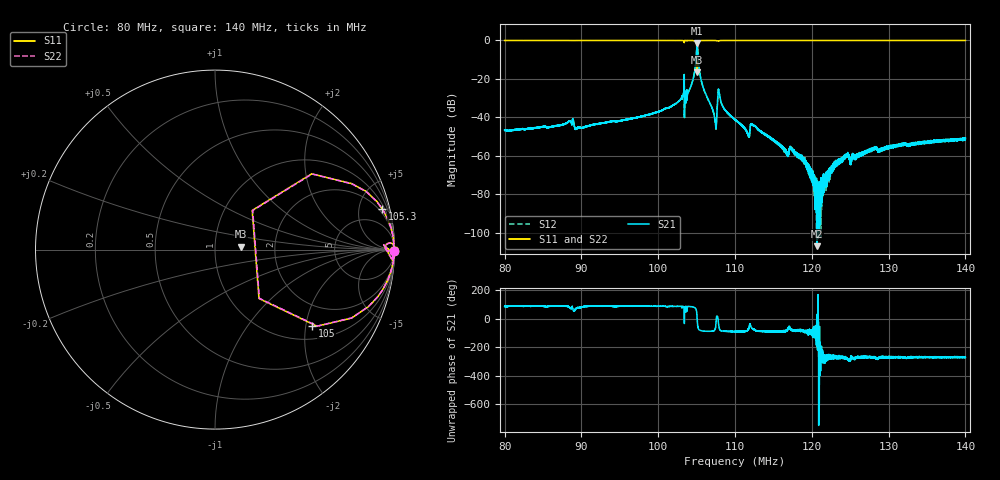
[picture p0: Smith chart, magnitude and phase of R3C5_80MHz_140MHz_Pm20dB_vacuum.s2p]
!Agilent Technologies,N5230A,MY45000988,A.06.04.32
!Agilent N5230A: A.06.04.32
!Date: Saturday, August 17, 2019 19:29:45
!Correction: S11(Full 2 Port(1,2)) S21(Full 2 Port(1,2)) S12(Full 2 Port(1,2)) S22(Full 2 Port(1,2))
!S2P File: Measurements: S11, S21, S12, S22:
# Hz S  RI  R 50
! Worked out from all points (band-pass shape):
!   16001 points, 80 MHz to 140 MHz, reference 50 ohm
!   highest |S21| = -1.41 dB at 105.1 MHz (marker M1); lowest = -107.0 dB at 120.7 MHz (marker M2)
!   |S21| within 3 dB of the highest: 105.0124 MHz to 105.1292 MHz (116.8 kHz wide, 0.111 % of centre)
!   lowest |S11| = -16.7 dB at 105.1 MHz (marker M3), VSWR 1.34, Z = 67.1 + j2.25 ohm
!   |S11| at or under -10 dB: 105.0539 MHz to 105.0887 MHz (34.83 kHz wide, 0.0331 % of centre)
!   |S22| runs from -16.5 to 0.0 dB; largest |S21 - S12| = 0.0025
!   S11 on the Smith chart (normalised r, x): 80 MHz: open; 105 MHz: 1.34, -2.17; 105.3 MHz: 1.44, +8.14; 140 MHz: open
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8e7  0.9979 -0.00568  0.000312 0.00459  0.000198 0.00461  0.9976 -0.00649
8.867e7  0.9954 -0.00836  0.00246 0.00697  0.00237 0.00708  0.9953 -0.00902
9.000125e7  0.9968 -0.0071  0.000785 0.00529  0.000814 0.00516  0.9972 -0.00766
1.000025e8  0.9981 -0.0167  0.000515 0.0139  0.000375 0.0139  0.9975 -0.0166
1.037075e8  0.9954 -0.0432  0.00261 0.0401  0.00271 0.0401  0.9955 -0.0427
1.04765e8  0.9642 -0.1653  0.0332 0.1617  0.0331 0.1614  0.9644 -0.1642
1.050162e8  0.5403 -0.4258  0.4564 0.4226  0.4558 0.4226  0.5432 -0.4252
1.050725e8  0.146 0.0164  0.8501 -0.0188  0.8507 -0.0207  0.1486 0.0171
1.05275e8  0.9324 0.2255  0.0653 -0.2279  0.0652 -0.2276  0.9333 0.2244
1.057888e8  0.9939 0.0626  0.00473 -0.0656  0.00468 -0.0654  0.9931 0.062
1.073225e8  0.9968 0.00688  0.00162 -0.0102  0.00168 -0.0101  0.9965 0.00787
1.080125e8  0.9899 0.0321  0.00826 -0.0349  0.00835 -0.0348  0.9901 0.0317
1.1e8  0.9976 0.00528  0.000153 -0.0087  3.77e-05 -0.00861  0.9979 0.00597
1.116312e8  0.9971 0.000909  0.000495 -0.00373  0.000509 -0.00382  0.9974 0.000561
1.123588e8  0.9959 0.00246  0.00181 -0.00594  0.00169 -0.00619  0.9962 0.00303
1.167275e8  0.9975 -0.00168  0.000179 -0.00119  0.000194 -0.00104  0.9975 -0.00181
1.174138e8  0.9976 -0.00126  0.000305 -0.00139  0.000192 -0.00149  0.9975 -0.0023
1.200012e8  0.9978 -0.0017  -2e-05 -0.000323  1.78e-05 -0.000231  0.9979 -0.00324
1.207025e8  0.9978 -0.00179  3.77e-06 2.4e-06  -6.81e-05 -0.000106  0.9976 -0.00377
1.244225e8  0.9974 -0.00247  0.000225 0.000932  9.9e-05 0.00105  0.9974 -0.00464
1.300025e8  0.9974 -0.00317  5.04e-05 0.00176  1.59e-05 0.00167  0.9975 -0.00593
1.4e8  0.9979 -0.00402  8.65e-05 0.00288  -9.99e-05 0.00269  0.9977 -0.00771
